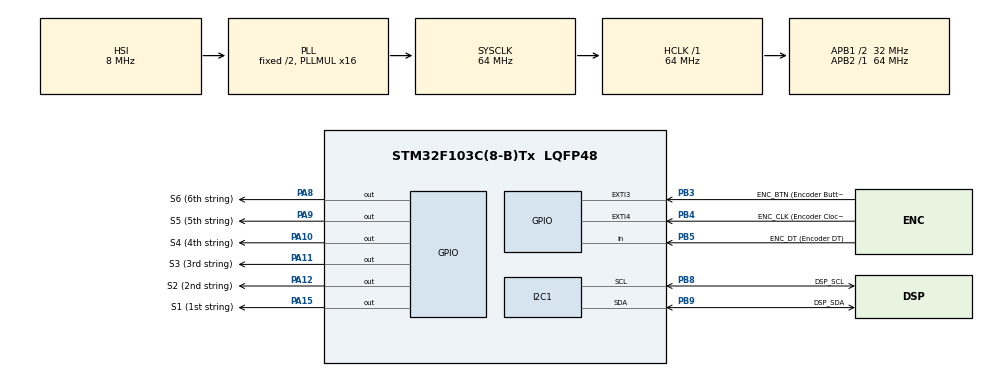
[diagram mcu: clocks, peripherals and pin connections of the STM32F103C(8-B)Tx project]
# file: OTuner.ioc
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Mcu.Family=STM32F1
Mcu.Name=STM32F103C(8-B)Tx
Mcu.Package=LQFP48
NVIC.EXTI3_IRQn=true\:0\:0\:false\:false\:true\:true\:true
NVIC.EXTI4_IRQn=true\:0\:0\:false\:false\:true\:true\:true
NVIC.PriorityGroup=NVIC_PRIORITYGROUP_4
PA10.GPIO_Label=S4 (4th string)
PA10.Signal=GPIO_Output
PA11.GPIO_Label=S3 (3rd string)
PA11.Signal=GPIO_Output
PA12.GPIO_Label=S2 (2nd string)
PA12.Signal=GPIO_Output
PA15.GPIO_Label=S1 (1st string)
PA15.Signal=GPIO_Output
PA8.GPIO_Label=S6 (6th string)
PA8.Signal=GPIO_Output
PA9.GPIO_Label=S5 (5th string)
PA9.Signal=GPIO_Output
PB3.GPIO_Label=ENC_BTN (Encoder Button)
PB3.GPIO_ModeDefaultEXTI=GPIO_MODE_IT_RISING_FALLING
PB3.Signal=GPXTI3
PB4.GPIO_Label=ENC_CLK (Encoder Clock))
PB4.GPIO_ModeDefaultEXTI=GPIO_MODE_IT_FALLING
PB4.Signal=GPXTI4
PB5.GPIO_Label=ENC_DT (Encoder DT)
PB5.Signal=GPIO_Input
PB8.GPIO_Label=DSP_SCL
PB8.Mode=I2C
PB8.Signal=I2C1_SCL
PB9.GPIO_Label=DSP_SDA
PB9.Mode=I2C
PB9.Signal=I2C1_SDA
ProjectManager.HeapSize=0x200
ProjectManager.StackSize=0x400
ProjectManager.TargetToolchain=Other Toolchains (GPDSC)
RCC.AHBFreq_Value=64000000
RCC.APB1CLKDivider=RCC_HCLK_DIV2
RCC.APB1Freq_Value=32000000
RCC.APB1TimFreq_Value=64000000
RCC.APB2Freq_Value=64000000
RCC.APB2TimFreq_Value=64000000
RCC.HCLKFreq_Value=64000000
RCC.PLLMUL=RCC_PLL_MUL16
RCC.SYSCLKFreq_VALUE=64000000
RCC.SYSCLKSource=RCC_SYSCLKSOURCE_PLLCLK
RCC.USBFreq_Value=64000000
TIM2.AutoReloadPreload=TIM_AUTORELOAD_PRELOAD_ENABLE
TIM2.Prescaler=0
TIM2.TIM_MasterOutputTrigger=TIM_TRGO_UPDATE
TIM2.TIM_MasterSlaveMode=TIM_MASTERSLAVEMODE_ENABLE
TIM3.AutoReloadPreload=TIM_AUTORELOAD_PRELOAD_ENABLE
TIM3.TIM_MasterOutputTrigger=TIM_TRGO_RESET
VP_SYS_VS_ND.Mode=No_Debug
VP_TIM2_VS_ClockSourceINT.Mode=Internal
VP_TIM3_VS_ClockSourceITR.Mode=TriggerSource_ITR1
VP_TIM3_VS_ControllerModeClock.Mode=Clock Mode
board=custom

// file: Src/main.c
/* USER CODE BEGIN Header */
/**
  ******************************************************************************
  * @file           : main.c
  * @brief          : Main program body
  ******************************************************************************
  * @attention
  *
  * <h2><center>&copy; Copyright (c) 2021 STMicroelectronics.
  * All rights reserved.</center></h2>
  *
  * This software component is licensed by ST under BSD 3-Clause license,
  * the "License"; You may not use this file except in compliance with the
  * License. You may obtain a copy of the License at:
  *                        opensource.org/licenses/BSD-3-Clause
  *
  ******************************************************************************
  */
/* USER CODE END Header */
#include "main.h"
#include "i2c.h"
#include "tim.h"
#include "gpio.h"

/* USER CODE BEGIN Includes */

#include "interface.h"
#include "encoder.h"
#include "ssd1306.h"
#include "led.h"

/* USER CODE END Includes */

void SystemClock_Config(void);

/* USER CODE BEGIN 0 */

// === GPIO Interrupt Handlers

void HAL_GPIO_EXTI_Callback(uint16_t GPIO_Pin) {
  if (GPIO_Pin == ENC_BTN_Pin) {
    encoder_handle_button_interrupt();
  }

  if (GPIO_Pin == ENC_CLK_Pin) {
    encoder_handle_clk_interrupt();
  }
}

/* USER CODE END 0 */

int main(void)
{

  /* MCU Configuration--------------------------------------------------------*/

  /* Reset of all peripherals, Initializes the Flash interface and the Systick. */
  HAL_Init();

  /* Configure the system clock */
  SystemClock_Config();

  /* Initialize all configured peripherals */
  MX_GPIO_Init();
  MX_TIM2_Init();
  MX_I2C1_Init();
  MX_TIM3_Init();
  /* USER CODE BEGIN 2 */

  // === setup timers

  HAL_TIM_Base_Start(&htim2);
  HAL_TIM_Base_Start(&htim3);

  // === setup all pins

  HAL_GPIO_WritePin(GPIOC, GPIO_PIN_13, GPIO_PIN_SET);
  led_init(); // reset diodes

  /* USER CODE END 2 */

  /* Infinite loop */
  /* USER CODE BEGIN WHILE */

  interface_init(&hi2c1);

  while (1)
  {
    if (encoder_use_position_change() == ENCODER_OK) {
      interface_register_encoder_position(encoder.position);
    }

    if (encoder_use_long_press() == ENCODER_OK) {
      interface_register_long_press();
    }

    if (encoder_use_single_press() == ENCODER_OK) {
      interface_register_single_press();
    }

    led_perform_update_cycle(INTERFACE_P);

    /* USER CODE END WHILE */

  }
}

void SystemClock_Config(void)
{
  RCC_OscInitTypeDef RCC_OscInitStruct = {0};
  RCC_ClkInitTypeDef RCC_ClkInitStruct = {0};

  /** Initializes the RCC Oscillators according to the specified parameters
  * in the RCC_OscInitTypeDef structure.
  */
  RCC_OscInitStruct.OscillatorType = RCC_OSCILLATORTYPE_HSI;
  RCC_OscInitStruct.HSIState = RCC_HSI_ON;
  RCC_OscInitStruct.HSICalibrationValue = RCC_HSICALIBRATION_DEFAULT;
  RCC_OscInitStruct.PLL.PLLState = RCC_PLL_ON;
  RCC_OscInitStruct.PLL.PLLSource = RCC_PLLSOURCE_HSI_DIV2;
  RCC_OscInitStruct.PLL.PLLMUL = RCC_PLL_MUL16;
  if (HAL_RCC_OscConfig(&RCC_OscInitStruct) != HAL_OK)
  {
    Error_Handler();
  }
  /** Initializes the CPU, AHB and APB buses clocks
  */
  RCC_ClkInitStruct.ClockType = RCC_CLOCKTYPE_HCLK|RCC_CLOCKTYPE_SYSCLK
                              |RCC_CLOCKTYPE_PCLK1|RCC_CLOCKTYPE_PCLK2;
  RCC_ClkInitStruct.SYSCLKSource = RCC_SYSCLKSOURCE_PLLCLK;
  RCC_ClkInitStruct.AHBCLKDivider = RCC_SYSCLK_DIV1;
  RCC_ClkInitStruct.APB1CLKDivider = RCC_HCLK_DIV2;
  RCC_ClkInitStruct.APB2CLKDivider = RCC_HCLK_DIV1;

  if (HAL_RCC_ClockConfig(&RCC_ClkInitStruct, FLASH_LATENCY_2) != HAL_OK)
  {
    Error_Handler();
  }
}

void Error_Handler(void)
{
  __disable_irq();
  while (1)
  {
  }
}

/************************ (C) COPYRIGHT STMicroelectronics *****END OF FILE****/
